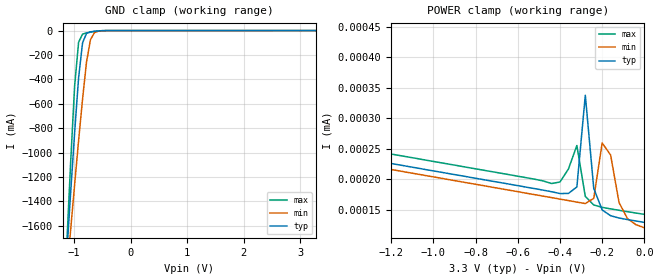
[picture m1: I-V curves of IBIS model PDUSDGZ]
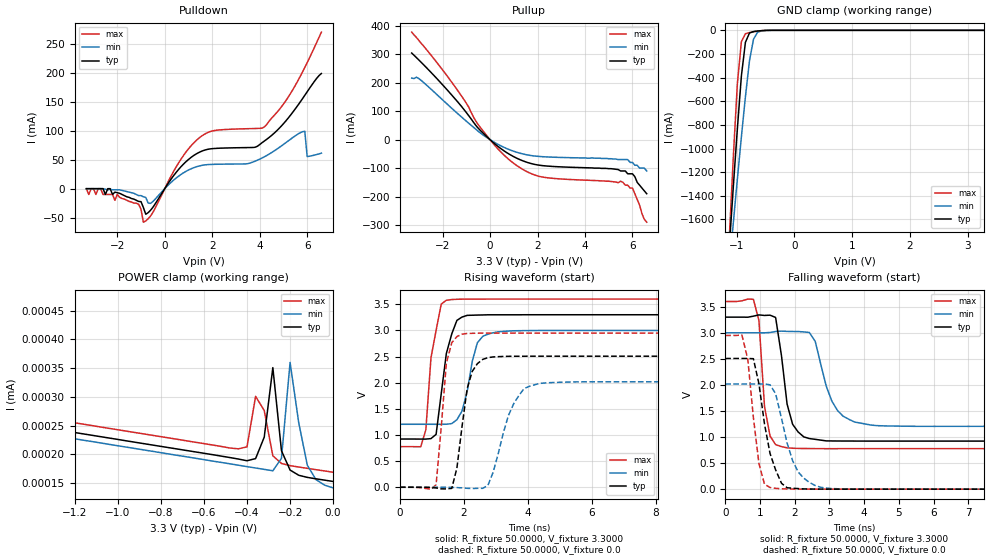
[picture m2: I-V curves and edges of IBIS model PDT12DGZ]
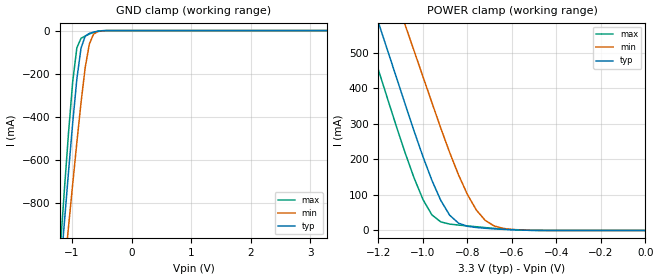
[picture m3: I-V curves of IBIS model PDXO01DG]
|   IBIS Model of Analog Devices ADSP-2147x
|   ADSP Device
|   196 PIN LFBGA
|   MODEL PROCESS #
[IBIS Ver]   3.2
[File Name]   ad2147x_196.ibs
[File Rev]   1.1
[Date]   May 03, 2012
[Notes]   This model is the first rev. based on HSPICE.
|   Some IV curves contain Non monotonic data
|   points. Model for the pins C14, F1 and H14 is included.
[Disclaimer] Model intended for simulation purposes only. Model has not been
|   Bench Tested.
[Copyright]  This model is is Copyright (C)2010 Analog Devices Inc. The entire
|   contents of this model are the exclusive property
|   of Analog Devices Inc.and may not be resold or
|   redistributed to any third party without
|   the express written permission of Analog Devices Inc.
[Component]   ADSP-2147x
[Manufacturer] Analog Devices
[Package]
| variable   typ   min   max
R_pkg   0.16   0.058   0.311
L_pkg   2.41nH   0.82nH   4.6nH
C_pkg   0.7pF   0.46pF   1.33pF
[Pin]   signal_name   model_name   R_pin L_pin C_pin
C14   WDT_CLKIN   PDXO01DG   NA NA NA
|D14   WDT_CLKO   PDXO01DG   NA NA NA
F1   CLKIN   PDXO01DG   NA NA NA
|G1   XTAL   PDXO01DG   NA NA NA
|G14   RTXO   PDXO01DG   NA NA NA
H14   RTXI   PDXO01DG   NA NA NA
B12   TRST_B   PDUSDGZ   NA NA NA
B4   TMS   PDUSDGZ   NA NA NA
C8   TDI   PDUSDGZ   NA NA NA
A10   DATA7   PDU12SDGZ   NA NA NA
A11   DATA3   PDU12SDGZ   NA NA NA
A12   DATA1   PDU12SDGZ   NA NA NA
A13   DATA2   PDU12SDGZ   NA NA NA
A2   SDCKE   PDU12SDGZ   NA NA NA
A3   SDDQM   PDU12SDGZ   NA NA NA
A4   SDRAS_B   PDU12SDGZ   NA NA NA
A5   SDWE_B   PDU12SDGZ   NA NA NA
A6   DATA12   PDU12SDGZ   NA NA NA
A7   DATA13   PDU12SDGZ   NA NA NA
A8   DATA10   PDU12SDGZ   NA NA NA
A9   DATA9   PDU12SDGZ   NA NA NA
B1   ADDR0   PDU12SDGZ   NA NA NA
B10   DATA6   PDU12SDGZ   NA NA NA
B11   DATA5   PDU12SDGZ   NA NA NA
B13   FLAG1   PDU12SDGZ   NA NA NA
B14   DATA0   PDU12SDGZ   NA NA NA
B6   DATA14   PDU12SDGZ   NA NA NA
B7   DATA11   PDU12SDGZ   NA NA NA
B8   DATA4   PDU12SDGZ   NA NA NA
B9   DATA8   PDU12SDGZ   NA NA NA
C1   ADDR2   PDU12SDGZ   NA NA NA
C10   EMU_B   PDU12SDGZ   NA NA NA
C12   FLAG3   PDU12SDGZ   NA NA NA
C13   ADDR16   PDU12SDGZ   NA NA NA
C2   ADDR3   PDU12SDGZ   NA NA NA
C4   MS0_B   PDU12SDGZ   NA NA NA
C5   SDCAS_B   PDU12SDGZ   NA NA NA
C6   DATA15   PDU12SDGZ   NA NA NA
D1   ADDR6   PDU12SDGZ   NA NA NA
D12   ADDR14   PDU12SDGZ   NA NA NA
D13   ADDR20   PDU12SDGZ   NA NA NA
D2   ADDR4   PDU12SDGZ   NA NA NA
D3   ADDR1   PDU12SDGZ   NA NA NA
E1   ADDR8   PDU12SDGZ   NA NA NA
E12   AMI_RD_B   PDU12SDGZ   NA NA NA
E13   ADDR22   PDU12SDGZ   NA NA NA
E14   FLAG2   PDU12SDGZ   NA NA NA
E2   ADDR7   PDU12SDGZ   NA NA NA
E3   ADDR5   PDU12SDGZ   NA NA NA
F12   ADDR15   PDU12SDGZ   NA NA NA
F13   FLAG0   PDU12SDGZ   NA NA NA
F14   AMI_WR_B   PDU12SDGZ   NA NA NA
F2   ADDR9   PDU12SDGZ   NA NA NA
G12   ADDR21   PDU12SDGZ   NA NA NA
G13   ADDR19   PDU12SDGZ   NA NA NA
G2   SDA10   PDU12SDGZ   NA NA NA
G3   ADDR11   PDU12SDGZ   NA NA NA
H1   ADDR13   PDU12SDGZ   NA NA NA
H13   ADDR23   PDU12SDGZ   NA NA NA
H2   ADDR12   PDU12SDGZ   NA NA NA
H3   ADDR10   PDU12SDGZ   NA NA NA
H4   ADDR17   PDU12SDGZ   NA NA NA
J1   DPI_P01   PDU12SDGZ   NA NA NA
J12   DAI_P11   PDU12SDGZ   NA NA NA
J13   AMI_ACK   PDU12SDGZ   NA NA NA
J14   MS1_B   PDU12SDGZ   NA NA NA
J2   DPI_P03   PDU12SDGZ   NA NA NA
J3   ADDR18   PDU12SDGZ   NA NA NA
J4   RESETOUT_B   PDU12SDGZ   NA NA NA
K1   DPI_P02   PDU12SDGZ   NA NA NA
K12   DAI_P16   PDU12SDGZ   NA NA NA
K13   DAI_P18   PDU12SDGZ   NA NA NA
K14   DAI_P15   PDU12SDGZ   NA NA NA
K2   DPI_P04   PDU12SDGZ   NA NA NA
K3   DPI_P05   PDU12SDGZ   NA NA NA
K4   DPI_P09   PDU12SDGZ   NA NA NA
L1   DAI_P03   PDU12SDGZ   NA NA NA
L11   DAI_P10   PDU12SDGZ   NA NA NA
L12   DAI_P20   PDU12SDGZ   NA NA NA
L13   DAI_P17   PDU12SDGZ   NA NA NA
L14   DAI_P04   PDU12SDGZ   NA NA NA
L2   DPI_P10   PDU12SDGZ   NA NA NA
L3   DPI_P08   PDU12SDGZ   NA NA NA
L4   DPI_P06   PDU12SDGZ   NA NA NA
M1   DPI_P13   PDU12SDGZ   NA NA NA
M10   SD_SDO   PDU12SDGZ   NA NA NA
M11   DAI_P06   PDU12SDGZ   NA NA NA
M12   DAI_P05   PDU12SDGZ   NA NA NA
M13   DAI_P08   PDU12SDGZ   NA NA NA
M14   DAI_P12   PDU12SDGZ   NA NA NA
M2   DPI_P12   PDU12SDGZ   NA NA NA
M3   SR_LDO0   PDU12SDGZ   NA NA NA
M4   DPI_P07   PDU12SDGZ   NA NA NA
M5   DPI_P11   PDU12SDGZ   NA NA NA
M6   SR_LDO5   PDU12SDGZ   NA NA NA
M7   SR_LDO7   PDU12SDGZ   NA NA NA
M8   DAI_P07   PDU12SDGZ   NA NA NA
M9   SR_LDO16   PDU12SDGZ   NA NA NA
N1   DPI_P14   PDU12SDGZ   NA NA NA
N10   SR_SCLK   PDU12SDGZ   NA NA NA
N11   DAI_P09   PDU12SDGZ   NA NA NA
N12   SR_SDI   PDU12SDGZ   NA NA NA
N13   SR_LDO17   PDU12SDGZ   NA NA NA
N14   DAI_P14   PDU12SDGZ   NA NA NA
N2   SR_LDO1   PDU12SDGZ   NA NA NA
N3   SR_LDO4   PDU12SDGZ   NA NA NA
N4   SR_LDO8   PDU12SDGZ   NA NA NA
N5   SR_LDO10   PDU12SDGZ   NA NA NA
N6   DAI_P01   PDU12SDGZ   NA NA NA
N7   SR_LDO9   PDU12SDGZ   NA NA NA
N8   DAI_P02   PDU12SDGZ   NA NA NA
N9   SR_LDO13   PDU12SDGZ   NA NA NA
P10   SR_CLR_B   PDU12SDGZ   NA NA NA
P11   SR_LAT   PDU12SDGZ   NA NA NA
P12   SR_LDO14   PDU12SDGZ   NA NA NA
P13   SR_LDO12   PDU12SDGZ   NA NA NA
P2   SR_LDO3   PDU12SDGZ   NA NA NA
P3   SR_LDO2   PDU12SDGZ   NA NA NA
P4   SR_LDO6   PDU12SDGZ   NA NA NA
P5   WDTRSTO_B   PDU12SDGZ   NA NA NA
P6   DAI_P19   PDU12SDGZ   NA NA NA
P7   DAI_P13   PDU12SDGZ   NA NA NA
P8   SR_LDO11   PDU12SDGZ   NA NA NA
P9   SR_LDO15   PDU12SDGZ   NA NA NA
C11   TDO   PDT12DGZ   NA NA NA
B2   CLK_CFG1   PDISDGZ   NA NA NA
B3   BOOT_CFG0   PDISDGZ   NA NA NA
B5   RESET_B   PDISDGZ   NA NA NA
C7   TCK   PDISDGZ   NA NA NA
D4   CLK_CFG0   PDISDGZ   NA NA NA
F3   BOOT_CFG1   PDISDGZ   NA NA NA
H12   BOOT_CFG2   PDISDGZ   NA NA NA
C3   RTCLKOUT   PDD24SDGZ   NA NA NA
C9   SDCLK0   PDD24SDGZ   NA NA NA
E5   VDD_INT   POWER   NA NA NA
E6   VDD_INT   POWER   NA NA NA
E7   VDD_INT   POWER   NA NA NA
E8   VDD_INT   POWER   NA NA NA
E9   VDD_INT   POWER   NA NA NA
E10   VDD_INT   POWER   NA NA NA
F10   VDD_INT   POWER   NA NA NA
G5   VDD_INT   POWER   NA NA NA
G10   VDD_INT   POWER   NA NA NA
H5   VDD_INT   POWER   NA NA NA
H10   VDD_INT   POWER   NA NA NA
J5   VDD_INT   POWER   NA NA NA
K5   VDD_INT   POWER   NA NA NA
K10   VDD_INT   POWER   NA NA NA
L5   VDD_INT   POWER   NA NA NA
L6   VDD_INT   POWER   NA NA NA
L7   VDD_INT   POWER   NA NA NA
L8   VDD_INT   POWER   NA NA NA
L9   VDD_INT   POWER   NA NA NA
L10   VDD_INT   POWER   NA NA NA
D5   VDD_EXT   POWER   NA NA NA
D6   VDD_EXT   POWER   NA NA NA
D7   VDD_EXT   POWER   NA NA NA
D8   VDD_EXT   POWER   NA NA NA
D9   VDD_EXT   POWER   NA NA NA
D10   VDD_EXT   POWER   NA NA NA
D11   VDD_EXT   POWER   NA NA NA
E4   VDD_EXT   POWER   NA NA NA
E11   VDD_EXT   POWER   NA NA NA
F11   VDD_EXT   POWER   NA NA NA
G11   VDD_EXT   POWER   NA NA NA
H11   VDD_EXT   POWER   NA NA NA
F5   NC   NC
G4   GND   GND   NA NA NA
J11   VDD_RTC   POWER   NA NA NA
A1   GND   GND   NA NA NA
A14   GND   GND   NA NA NA
F6   GND   GND   NA NA NA
F7   GND   GND   NA NA NA
F8   GND   GND   NA NA NA
F9   GND   GND   NA NA NA
G6   GND   GND   NA NA NA
G7   GND   GND   NA NA NA
G8   GND   GND   NA NA NA
G9   GND   GND   NA NA NA
H6   GND   GND   NA NA NA
H7   GND   GND   NA NA NA
H8   GND   GND   NA NA NA
H9   GND   GND   NA NA NA
J6   GND   GND   NA NA NA
J7   GND   GND   NA NA NA
J8   GND   GND   NA NA NA
J9   GND   GND   NA NA NA
K6   GND   GND   NA NA NA
K7   GND   GND   NA NA NA
K8   GND   GND   NA NA NA
K9   GND   GND   NA NA NA
K11   GND   GND   NA NA NA
P1   GND   GND   NA NA NA
P14   GND   GND   NA NA NA
F4   NC   NC
J10   VSS_RTC   GND   NA NA NA
| Models and submodels in the file (6): PDUSDGZ (Input), PDT12DGZ (3-state), PDXO01DG (Input), PDISDGZ (Input), PDU12SDGZ (I/O), PDD24SDGZ (I/O)
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|   Model PDUSDGZ
[Model]  PDUSDGZ
Model_type Input
Polarity   Non-Inverting
Vinl =   0.8000V
Vinh =   2.0000V
C_comp   3.4373pF   3.3181pF   3.5589pF
[Temperature Range]   25.0000   0.1250k   -40.0000
[Voltage Range]   3.3000V   3.0000V   3.6000V
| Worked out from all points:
|   GND clamp passes 1 mA (typ) near -0.50 V on its own axis
|   POWER clamp passes 1 mA (typ) near -3.14 V on its own axis
[GND_clamp]
|Voltage   I(typ)   I(min)   I(max)
-3.3V     -18.8A     -14.27A    -25.24A
-1.13V    -1.833A    -2.005A    -1.758A
-1.06V    -1.323A    -1.629A    -1.073A
-990mV    -833.7mA   -1.26A     -452.1mA
-920mV    -386mA     -901.5mA   -95.51mA
-850mV    -101.2mA   -561.6mA   -28.91mA
-780mV    -22.87mA   -257.9mA   -19.12mA
-710mV    -10.52mA   -75.06mA   -12.5mA
-640mV    -5.864mA   -17mA      -7.028mA
-570mV    -2.737mA   -4.59mA    -2.976mA
3.28V     128.5nA    160.4nA    124.7nA
[POWER_clamp]
|Voltage   I(typ)   I(min)   I(max)
-3.28V    87.8mA     355.9nA    3.529A
-2.92V    530.1nA    324.5nA    824.9mA
-2.84V    338.8nA    319.2nA    333.2mA
-2.76V    324.6nA    313.8nA    42.7mA
-2.52V    308.3nA    298.1nA    827.9nA
-2.4V     300.5nA    290.4nA    317.9nA
-400mV    176.8nA    167.7nA    195.7nA
-320mV    187.6nA    162.8nA    255.5nA
-280mV    337.9nA    160.4nA    172.1nA
-240mV    185.4nA    168.9nA    158.1nA
-200mV    149.9nA    259.7nA    154.2nA
0V        129.6nA    120.8nA    142.7nA
|   Model PDT12DGZ
[Model]  PDT12DGZ
Model_type 3-state
Polarity   Non-Inverting
Enable   Active-Low
Vmeas =  1.6500V
Cref =   50.0000pF
Rref =   1.0000M
Vref =   0.0V
C_comp   0.1048pF   82.3000fF   0.1118pF
[Temperature Range]   25.0000   0.1250k   -40.0000
[Voltage Range]   3.3000V   3.0000V   3.6000V
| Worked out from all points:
|   slope of the pulldown table from 0 to 0.495 V, typ, clamps not added: 17.2 ohm
|   slope of the pullup table from 0 to 0.495 V, typ, clamps not added: 14.7 ohm
|   GND clamp passes 1 mA (typ) near -0.51 V on its own axis
|   POWER clamp passes 1 mA (typ) near -3.14 V on its own axis
|   rising waveform, R_fixture 50.0000, V_fixture 3.3000: 20-80 % time 360ps typ, 378ps min, 303ps max; typ from 0.922 V to 3.3 V
|   rising waveform, R_fixture 50.0000, V_fixture 0.0: 20-80 % time 351ps typ, 607ps min, 240ps max; typ from 0 V to 2.51 V
|   falling waveform, R_fixture 50.0000, V_fixture 3.3000: 20-80 % time 319ps typ, 521ps min, 210ps max; typ from 3.3 V to 0.922 V
|   falling waveform, R_fixture 50.0000, V_fixture 0.0: 20-80 % time 410ps typ, 517ps min, 283ps max; typ from 2.51 V to 0 V
[Pulldown]
|Voltage   I(typ)   I(min)   I(max)
-3.3V     0A         0A         0A
-1.1V     -22mA      -12mA      -27mA
-900mV    -32.5mA    -14mA      -57.81mA
-800mV    -44.06mA   -15.1mA    -55.62mA
-600mV    -37.36mA   -25.36mA   -47.29mA
600mV     33.95mA    22.08mA    45.47mA
1.5V      63.62mA    39.59mA    89.08mA
3.8V      71.36mA    47.3mA     103.7mA
4.3V      85.25mA    57.29mA    110.9mA
5.9V      161mA      98.95mA    209mA
6V        167mA      55.35mA    217.2mA
6.6V      198.6mA    61.25mA    270mA
[Pullup]
|Voltage   I(typ)   I(min)   I(max)
-3.3V     304.4mA    216.2mA    378mA
-3V       280.1mA    214.7mA    349mA
-1.6V     155.6mA    109.3mA    200.4mA
-400mV    31.78mA    23.06mA    42.13mA
900mV     -55.35mA   -37.84mA   -76.89mA
1.6V      -80.74mA   -54.01mA   -114.2mA
2.2V      -91.12mA   -59.76mA   -131.2mA
5.5V      -110mA     -70mA      -146mA
6V        -120mA     -80mA      -170mA
6.3V      -160mA     -100mA     -230mA
6.5V      -180mA     -100mA     -280mA
6.6V      -190mA     -110mA     -290mA
[GND_clamp]
|Voltage   I(typ)   I(min)   I(max)
-3.3V     -18.8A     -14.27A    -25.23A
-1.13V    -1.833A    -2.005A    -1.758A
-1.06V    -1.323A    -1.629A    -1.073A
-990mV    -833.7mA   -1.26A     -452mA
-920mV    -386mA     -901.5mA   -95.42mA
-850mV    -101.1mA   -561.6mA   -28.81mA
-780mV    -22.81mA   -257.9mA   -19.02mA
-710mV    -10.46mA   -75.05mA   -12.39mA
-640mV    -5.794mA   -16.97mA   -6.919mA
-570mV    -2.664mA   -4.555mA   -2.86mA
3.28V     152nA      171.7nA    151.2nA
[POWER_clamp]
|Voltage   I(typ)   I(min)   I(max)
-3.28V    87.8mA     368.1nA    3.529A
-2.92V    543nA      336.3nA    824.9mA
-2.76V    337.3nA    325.4nA    42.7mA
-2.52V    320.8nA    309.5nA    841.7nA
-2.4V     312.9nA    301.7nA    331.7nA
-400mV    189.1nA    178.9nA    213.3nA
-360mV    192.9nA    176.5nA    301nA
-280mV    351nA      171.7nA    197.7nA
-240mV    206.5nA    193.3nA    184.4nA
-200mV    172.9nA    360nA      180.6nA
-120mV    160.2nA    181.4nA    175.9nA
0V        153.1nA    141.9nA    169.1nA
[Ramp]
| variable   typ   min   max
dV/dt_r  1.5042/0.3506n   1.2102/0.5970n   1.7694/0.2396n
dV/dt_f  1.4266/0.3149n   1.0770/0.5208n   1.6937/0.2100n
R_load = 50.0000
[Rising Waveform]
R_fixture= 50.0000
V_fixture= 3.3000
V_fixture_min= 3.0000
V_fixture_max= 3.6000
L_fixture= 0.0H
C_fixture= 0.0F
|time   V(typ)   V(min)   V(max)
0s        922.3mV    1.205V     777.1mV
650ps     922mV      1.205V     775mV
810ps     921.4mV    1.205V     1.1V
970ps     931mV      1.205V     2.477V
1.13ns    1.012V     1.204V     3.001V
1.45ns    2.558V     1.206V     3.577V
1.78ns    3.192V     1.292V     3.596V
2.42ns    3.294V     2.764V     3.599V
2.91ns    3.299V     2.955V     3.6V
16ns      3.3V       3V         3.6V
[Rising Waveform]
R_fixture= 50.0000
V_fixture= 0.0
V_fixture_min= 0.0
V_fixture_max= 0.0
L_fixture= 0.0H
C_fixture= 0.0F
|time   V(typ)   V(min)   V(max)
0s        1.35uV     1.674uV    1.197uV
1.13ns    -13.17mV   68.61uV    47.37mV
1.45ns    -31.45mV   -407.9uV   2.37V
1.78ns    365.9mV    -5.891mV   2.882V
1.94ns    1.159V     -11.62mV   2.928V
2.42ns    2.364V     -20.32mV   2.947V
2.75ns    2.479V     37.07mV    2.949V
3.56ns    2.506V     1.603V     2.949V
4.36ns    2.507V     1.986V     2.949V
16ns      2.507V     2.017V     2.949V
[Falling Waveform]
R_fixture= 50.0000
V_fixture= 3.3000
V_fixture_min= 3.0000
V_fixture_max= 3.6000
L_fixture= 0.0H
C_fixture= 0.0F
|time   V(typ)   V(min)   V(max)
0s        3.3V       3V         3.6V
810ps     3.319V     3V         3.643V
970ps     3.343V     3V         3.234V
1.13ns    3.333V     2.999V     1.588V
1.29ns    3.338V     3.006V     1.019V
1.62ns    2.555V     3.032V     815.8mV
1.94ns    1.244V     3.025V     784.9mV
2.42ns    971mV      3.006V     779.1mV
3.72ns    922.9mV    1.288V     777.3mV
16ns      922.3mV    1.205V     777.1mV
[Falling Waveform]
R_fixture= 50.0000
V_fixture= 0.0
V_fixture_min= 0.0
V_fixture_max= 0.0
L_fixture= 0.0H
C_fixture= 0.0F
|time   V(typ)   V(min)   V(max)
0s        2.507V     2.017V     2.949V
480ps     2.507V     2.017V     2.958V
650ps     2.507V     2.017V     2.489V
810ps     2.503V     2.017V     1.376V
970ps     2.021V     2.017V     489.4mV
1.29ns    683.7mV    2.001V     30.92mV
1.62ns    111.8mV    1.357V     7.302mV
2.1ns     11.23mV    328.6mV    1.099mV
2.75ns    1.12mV     34.85mV    90.55uV
16ns      0V         5.221uV    5.693uV
|   Model PDXO01DG
[Model]  PDXO01DG
Model_type Input
Polarity   Non-Inverting
Vinl =   0.8000V
Vinh =   2.0000V
C_comp   3.4373pF   3.3181pF   3.5589pF
[Temperature Range]   25.0000   0.1250k   -40.0000
[Voltage Range]   3.3000V   3.0000V   3.6000V
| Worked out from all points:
|   GND clamp passes 1 mA (typ) near -0.50 V on its own axis
|   POWER clamp passes 1 mA (typ) near -0.55 V on its own axis
[GND_clamp]
|Voltage   I(typ)   I(min)   I(max)
-3.3V     -8.722A    -7.696A    -9.868A
-1.2V     -1.133A    -1.316A    -1.019A
-1.13V    -892.6mA   -1.112A    -742mA
-1.06V    -656.5mA   -910.5mA   -475.6mA
-990mV    -429.6mA   -712.4mA   -238.3mA
-920mV    -225.2mA   -519.3mA   -80.15mA
-850mV    -81.66mA   -334.7mA   -35.97mA
-780mV    -26.06mA   -171.9mA   -25.15mA
-710mV    -13.04mA   -62.3mA    -15.96mA
-640mV    -7.011mA   -16.71mA   -8.47mA
-430mV    -133.2uA   -374.2uA   -69.26uA
3.28V     86.36pA    2.835uA    64.13pA
[POWER_clamp]
|Voltage   I(typ)   I(min)   I(max)
-3.28V    4.62A      4.574A     7.041A
-1.28V    737.2mA    941mA      609.2mA
-1.24V    660.8mA    868.3mA    530.1mA
-1.2V     584.4mA    795.7mA    451mA
-1.08V    355.1mA    577.7mA    217.9mA
-1V       207.5mA    432.5mA    87mA
-960mV    141.2mA    359.8mA    43.88mA
-880mV    42.89mA    219.2mA    17.96mA
-800mV    11.76mA    101mA      12.87mA
-720mV    6.244mA    28.24mA    8.115mA
-600mV    2.011mA    2.948mA    2.442mA
0V        89.93pA    3.127nA    86.38pA
